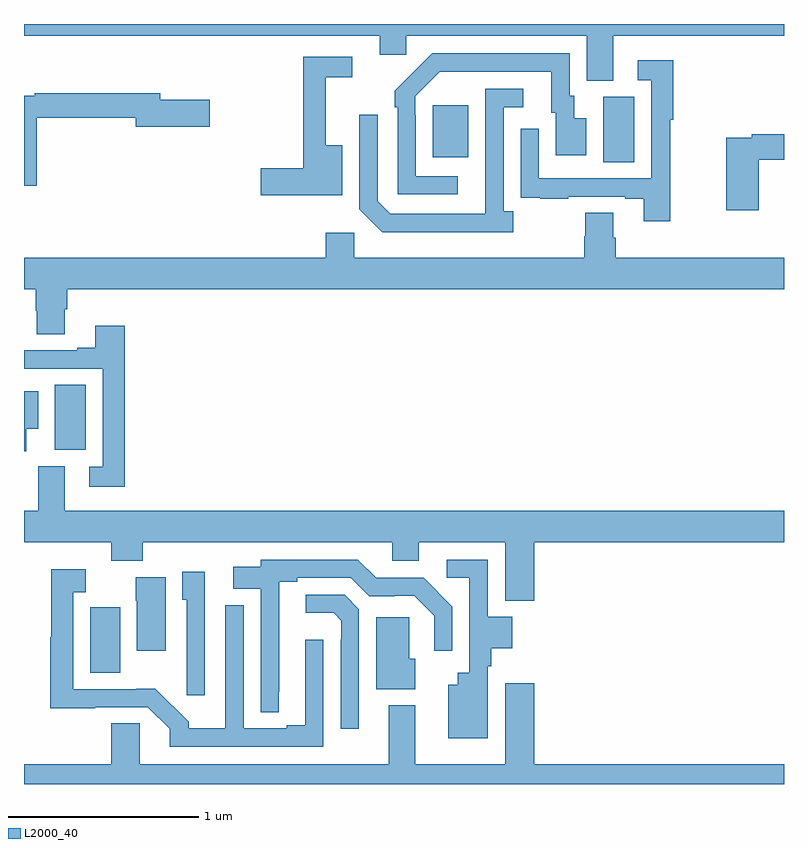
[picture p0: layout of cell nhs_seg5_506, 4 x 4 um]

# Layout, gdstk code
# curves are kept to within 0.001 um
import gdstk
lib = gdstk.Library(unit=1e-6, precision=1e-09)
def R(c, l, rs):  # rectangles x0, y0, x1, y1
    for r in rs: c.add(gdstk.rectangle(r[:2], r[2:], *l))
def P(c, l, *ps):  # polygons
    for p in ps: c.add(gdstk.Polygon(p, *l))
L2000_40 = (2000, 40)

nhs_seg5_506 = lib.new_cell('nhs_seg5_506')
R(nhs_seg5_506, L2000_40, [(143.348,877.384,143.506,877.729), (143.162,878.557,143.326,878.9), (146.048,880.072,146.212,880.416), (145.151,880.097,145.339,880.372)])
P(nhs_seg5_506, L2000_40, [(146.101,880.736),(147,880.736),(147,880.799),(143,880.799),(143,880.736),(144.872,880.736),(144.872,880.638),(145.011,880.638),(145.011,880.736),(145.961,880.736),(145.961,880.501),(146.101,880.501)],
  [(145.282,879.999),(145.062,879.999),(145.062,880.319),(145.059,880.319),(145.059,880.419),(145.188,880.548),(145.775,880.548),(145.775,880.332),(145.799,880.332),(145.799,880.107),(145.96,880.107),(145.96,880.303),(145.897,880.303),(145.897,880.422),(145.872,880.422),(145.872,880.644),(145.148,880.644),(144.951,880.449),(144.951,880.361),(144.966,880.361),(144.966,879.903),(145.282,879.903)],
  [(144.676,880.162),(144.587,880.162),(144.587,880.518),(144.727,880.518),(144.727,880.626),(144.469,880.626),(144.469,880.04),(144.246,880.04),(144.246,879.898),(144.676,879.898)],
  [(146.402,880.296),(146.417,880.296),(146.417,880.609),(146.229,880.609),(146.229,880.503),(146.301,880.503),(146.301,879.987),(145.71,879.987),(145.71,880.249),(145.614,880.249),(145.614,879.994),(145.615,879.994),(145.615,879.885),(145.717,879.885),(145.717,879.879),(145.865,879.879),(145.865,879.891),(146.165,879.891),(146.165,879.879),(146.261,879.879),(146.261,879.762),(146.402,879.762)],
  [(145.576,879.814),(145.524,879.814),(145.524,880.362),(145.627,880.362),(145.627,880.458),(145.428,880.458),(145.427,879.801),(144.927,879.801),(144.861,879.867),(144.861,880.321),(144.765,880.321),(144.765,879.825),(144.886,879.704),(145.576,879.704)],
  [(143.068,880.306),(143.588,880.306),(143.588,880.259),(143.977,880.259),(143.977,880.401),(143.716,880.401),(143.716,880.435),(143.056,880.435),(143.056,880.422),(143,880.422),(143,879.947),(143.068,879.947)],
  [(146.867,880.084),(147,880.084),(147,880.22),(146.83,880.22),(146.83,880.2),(146.696,880.2),(146.696,879.819),(146.867,879.819)],
  [(143.215,879.298),(143.228,879.298),(143.228,879.404),(147,879.404),(147,879.568),(146.114,879.568),(146.114,879.674),(146.101,879.674),(146.101,879.806),(145.954,879.806),(145.954,879.681),(145.949,879.681),(145.949,879.568),(144.738,879.568),(144.738,879.7),(144.587,879.7),(144.587,879.568),(143,879.568),(143,879.404),(143.063,879.404),(143.063,879.291),(143.068,879.291),(143.068,879.166),(143.215,879.166)],
  [(143.531,879.211),(143.375,879.211),(143.375,879.094),(143.279,879.094),(143.279,879.081),(143,879.081),(143,878.985),(143.415,878.985),(143.415,878.469),(143.343,878.469),(143.343,878.364),(143.531,878.364)],
  [(143.011,878.669),(143.074,878.669),(143.074,878.866),(143,878.866),(143,878.55),(143.011,878.55)],
  [(145.685,878.072),(147,878.072),(147,878.236),(143.215,878.236),(143.215,878.472),(143.075,878.472),(143.075,878.236),(143,878.236),(143,878.072),(143.459,878.072),(143.459,877.973),(143.624,877.973),(143.624,878.072),(144.938,878.072),(144.938,877.973),(145.078,877.973),(145.078,878.072),(145.532,878.072),(145.532,877.763),(145.685,877.763)],
  [(145.441,877.418),(145.46,877.418),(145.46,877.514),(145.57,877.514),(145.57,877.678),(145.44,877.678),(145.44,877.98),(145.224,877.98),(145.224,877.884),(145.344,877.884),(145.344,877.384),(145.283,877.384),(145.283,877.321),(145.232,877.321),(145.232,877.04),(145.441,877.04)],
  [(144.342,877.285),(144.343,877.864),(144.439,877.864),(144.439,877.884),(144.72,877.884),(144.816,877.788),(144.952,877.788),(144.952,877.79),(145.054,877.79),(145.16,877.685),(145.16,877.5),(145.254,877.5),(145.254,877.732),(145.104,877.884),(144.853,877.884),(144.757,877.98),(144.246,877.98),(144.246,877.942),(144.102,877.942),(144.102,877.826),(144.246,877.826),(144.246,877.177),(144.342,877.177)],
  [(144.576,877.558),(144.479,877.558),(144.479,877.107),(144.383,877.107),(144.383,877.092),(144.156,877.092),(144.156,877.741),(144.06,877.741),(144.06,877.093),(143.866,877.093),(143.866,877.127),(143.692,877.301),(143.591,877.301),(143.591,877.299),(143.259,877.299),(143.259,877.809),(143.326,877.809),(143.326,877.93),(143.143,877.93),(143.143,877.572),(143.139,877.572),(143.139,877.198),(143.375,877.198),(143.375,877.203),(143.652,877.203),(143.766,877.09),(143.766,876.996),(144.576,876.996)],
  [(143.952,877.915),(143.834,877.915),(143.834,877.77),(143.856,877.77),(143.856,877.266),(143.952,877.266)],
  [(143.746,877.888),(143.588,877.888),(143.588,877.764),(143.594,877.764),(143.594,877.5),(143.746,877.5)],
  [(144.762,877.719),(144.687,877.794),(144.483,877.794),(144.483,877.7),(144.629,877.7),(144.669,877.659),(144.669,877.559),(144.666,877.559),(144.666,877.089),(144.762,877.089)],
  [(145.06,877.459),(145.027,877.459),(145.027,877.677),(144.854,877.677),(144.854,877.298),(145.06,877.298)],
  [(147,876.904),(145.685,876.904),(145.685,877.33),(145.532,877.33),(145.532,876.904),(145.06,876.904),(145.06,877.213),(144.92,877.213),(144.92,876.904),(143.61,876.904),(143.61,877.118),(143.459,877.118),(143.459,876.904),(143,876.904),(143,876.799),(147,876.799)])

lib.write_gds('nhs_seg5_506.gds')
